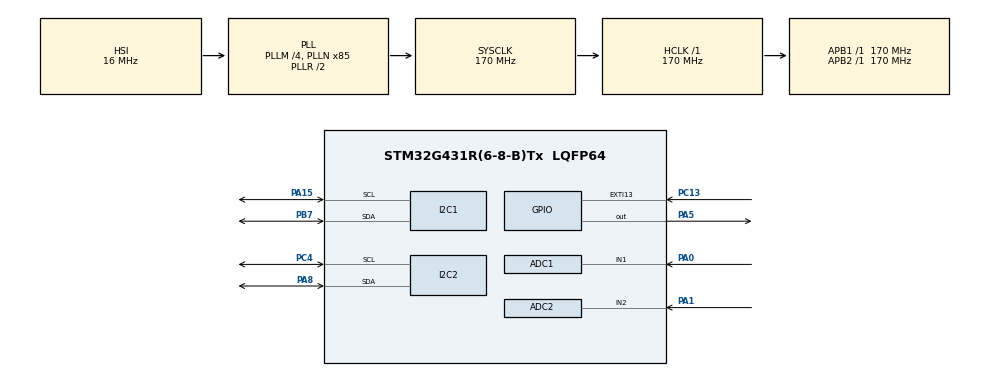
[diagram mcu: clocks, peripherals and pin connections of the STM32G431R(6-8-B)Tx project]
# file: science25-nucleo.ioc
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ADC1.Channel-0\#ChannelRegularConversion=ADC_CHANNEL_1
ADC1.NbrOfConversionFlag=1
ADC1.OffsetNumber-0\#ChannelRegularConversion=ADC_OFFSET_NONE
ADC1.Rank-0\#ChannelRegularConversion=1
ADC1.SamplingTime-0\#ChannelRegularConversion=ADC_SAMPLETIME_2CYCLES_5
ADC1.master=1
ADC2.Channel-0\#ChannelRegularConversion=ADC_CHANNEL_2
ADC2.NbrOfConversionFlag=1
ADC2.OffsetNumber-0\#ChannelRegularConversion=ADC_OFFSET_NONE
ADC2.Rank-0\#ChannelRegularConversion=1
ADC2.SamplingTime-0\#ChannelRegularConversion=ADC_SAMPLETIME_2CYCLES_5
I2C1.Timing=0x40B285C2
I2C2.Timing=0x40B285C2
Mcu.Family=STM32G4
Mcu.Name=STM32G431R(6-8-B)Tx
Mcu.Package=LQFP64
NUCLEO-G431RB.BUTTON=1
NUCLEO-G431RB.LD1=true
NUCLEO-G431RB.VCP=true
NVIC.EXTI15_10_IRQn=true\:0\:0\:false\:false\:true\:false\:true\:true
NVIC.PriorityGroup=NVIC_PRIORITYGROUP_4
PA0.Mode=IN1-Single-Ended
PA0.Signal=ADC1_IN1
PA1.Mode=IN2-Single-Ended
PA1.Signal=ADC2_IN2
PA13.GPIO_Label=T_SWDIO
PA13.Signal=SYS_JTMS-SWDIO
PA14.GPIO_Label=T_SWCLK
PA14.Signal=SYS_JTCK-SWCLK
PA15.GPIO_Pu=GPIO_PULLUP
PA15.Mode=I2C
PA15.Signal=I2C1_SCL
PA2.Signal=LPUART1_TX
PA3.Signal=LPUART1_RX
PA5.Signal=GPIO_Output
PA8.GPIO_Pu=GPIO_PULLUP
PA8.Mode=I2C
PA8.Signal=I2C2_SDA
PB3.GPIO_Label=T_SWO
PB3.Signal=SYS_JTDO-SWO
PB7.GPIO_Pu=GPIO_PULLUP
PB7.Mode=I2C
PB7.Signal=I2C1_SDA
PC13.Signal=GPXTI13
PC14-OSC32_IN.GPIO_Label=RCC_OSC32_OUT
PC14-OSC32_IN.Signal=RCC_OSC32_IN
PC15-OSC32_OUT.GPIO_Label=RCC_OSC32_OUT
PC15-OSC32_OUT.Signal=RCC_OSC32_OUT
PC4.GPIO_Pu=GPIO_PULLUP
PC4.Mode=I2C
PC4.Signal=I2C2_SCL
PF0-OSC_IN.GPIO_Label=RCC_OSC_IN
PF0-OSC_IN.Signal=RCC_OSC_IN
PF1-OSC_OUT.GPIO_Label=RCC_OSC_OUT
PF1-OSC_OUT.Signal=RCC_OSC_OUT
ProjectManager.HeapSize=0x200
ProjectManager.StackSize=0x400
ProjectManager.TargetToolchain=STM32CubeIDE
RCC.ADC12Freq_Value=170000000
RCC.AHBFreq_Value=170000000
RCC.APB1Freq_Value=170000000
RCC.APB1TimFreq_Value=170000000
RCC.APB2Freq_Value=170000000
RCC.APB2TimFreq_Value=170000000
RCC.CortexFreq_Value=170000000
RCC.EXTERNAL_CLOCK_VALUE=12288000
RCC.HCLKFreq_Value=170000000
RCC.HSE_VALUE=24000000
RCC.HSI48_VALUE=48000000
RCC.HSI_VALUE=16000000
RCC.LSE_VALUE=32768
RCC.PLLM=RCC_PLLM_DIV4
RCC.PLLN=85
RCC.RTCClockSelection=RCC_RTCCLKSOURCE_LSE
RCC.SYSCLKFreq_VALUE=170000000
RCC.SYSCLKSource=RCC_SYSCLKSOURCE_PLLCLK
RCC.USBFreq_Value=170000000
RCC.VCOOutputFreq_Value=340000000
VP_NUCLEO-G431RB_VS_BSP_COMMON.Mode=COMMON
VP_SYS_VS_DBSignals.Mode=DisableDeadBatterySignals
board=NUCLEO-G431RB

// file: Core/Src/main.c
/* USER CODE BEGIN Header */
/**
  ******************************************************************************
  * @file           : main.c
  * @brief          : Main program body
  ******************************************************************************
  * @attention
  *
  * Copyright (c) 2024 STMicroelectronics.
  * All rights reserved.
  *
  * This software is licensed under terms that can be found in the LICENSE file
  * in the root directory of this software component.
  * If no LICENSE file comes with this software, it is provided AS-IS.
  *
  ******************************************************************************
  */
/* USER CODE END Header */
#include "main.h"
#include "new_main.h"

/* USER CODE BEGIN PM */

#define OXYGEN_DATA_LENGTH 8

#define ADDRESS_0   0x70
#define ADDRESS_1   0x71
#define ADDRESS_2   0x72
#define ADDRESS_3   0x73  ///< iic slave Address select
#define OCOUNT      100   ///< oxygen Count Value
#define OXYGEN_DATA_REGISTER 0x03   ///< register for oxygen data
#define USER_SET_REGISTER    0x08   ///< register for users to configure key value manually
#define AUTUAL_SET_REGISTER  0x09   ///< register that automatically configure key value
#define GET_KEY_REGISTER     0x0A   ///< register for obtaining key value

#define TEMP_HUM_ADDRESS 0x38

/* USER CODE END PM */

COM_InitTypeDef BspCOMInit;
ADC_HandleTypeDef hadc1;
ADC_HandleTypeDef hadc2;

I2C_HandleTypeDef hi2c1;
I2C_HandleTypeDef hi2c2;

void SystemClock_Config(void);
static void MX_GPIO_Init(void);
static void MX_ADC1_Init(void);
static void MX_ADC2_Init(void);
static void MX_I2C1_Init(void);
static void MX_I2C2_Init(void);
/* USER CODE BEGIN PFP */

#define CAN_MSG_REQUEST_I2C1    0x100
#define CAN_MSG_REQUEST_I2C2    0x101
#define CAN_MSG_REQUEST_I2C3    0x102
#define CAN_MSG_REQUEST_ADC1    0x103
#define CAN_MSG_REQUEST_ADC2    0x104
#define CAN_MSG_RESPONSE_I2C    0x200
#define CAN_MSG_RESPONSE_ADC    0x201

/* USER CODE END PFP */

/* USER CODE BEGIN 0 */

/* Buffer for I2C data */
uint8_t i2c_buffer[8];
/* Buffer for ADC data */
uint16_t adc_buffer[4];

/* FDCAN message structures */
//FDCAN_TxHeaderTypeDef TxHeader;
//FDCAN_RxHeaderTypeDef RxHeader;
uint8_t TxData[8];
uint8_t RxData[8];

//void CAN_Config(void)
//{
//    /* Configure FDCAN filter to receive all messages */
//    FDCAN_FilterTypeDef sFilterConfig;
//
//    sFilterConfig.IdType = FDCAN_STANDARD_ID;
//    sFilterConfig.FilterIndex = 0;
//    sFilterConfig.FilterType = FDCAN_FILTER_MASK;
//    sFilterConfig.FilterConfig = FDCAN_FILTER_TO_RXFIFO0;
//    sFilterConfig.FilterID1 = 0x000;
//    sFilterConfig.FilterID2 = 0x000;
//
//    HAL_FDCAN_ConfigFilter(&hfdcan1, &sFilterConfig);
//    HAL_FDCAN_Start(&hfdcan1);
//    HAL_FDCAN_ActivateNotification(&hfdcan1, FDCAN_IT_RX_FIFO0_NEW_MESSAGE, 0);
//
//    /* Configure TX Header default values */
//    TxHeader.IdType = FDCAN_STANDARD_ID;
//    TxHeader.TxFrameType = FDCAN_DATA_FRAME;
//    TxHeader.DataLength = FDCAN_DLC_BYTES_8;
//    TxHeader.ErrorStateIndicator = FDCAN_ESI_ACTIVE;
//    TxHeader.BitRateSwitch = FDCAN_BRS_OFF;
//    TxHeader.FDFormat = FDCAN_CLASSIC_CAN;
//    TxHeader.TxEventFifoControl = FDCAN_NO_TX_EVENTS;
//    TxHeader.MessageMarker = 0;
//}

//float get_methane_ppm()
//{
//	HAL_StatusTypeDef status;
//	ADC_HandleTypeDef *hadc = &hadc2;
//	uint32_t raw_value;
//	float ppm = -1;
//
//	HAL_ADC_Start(hadc);
//	status = HAL_ADC_PollForConversion(hadc, 100);
//
//	if (status == HAL_OK)
//	{
//		raw_value = HAL_ADC_GetValue(hadc);
//
//		//calculate methane ppm from raw analog in
//		float voltage = raw_value * 5.00 / 4096.00;
//		float rs = (5 - voltage) / voltage;
//		const float r0 = 0.92;
//		ppm = powf(rs / r0, -3.20) * 860.00;
//	}
//
//	HAL_ADC_Stop(hadc);
//	return ppm;
//
//}
//
//float get_uv_index()
//{
//	HAL_StatusTypeDef status;
//	ADC_HandleTypeDef *hadc = &hadc1;
//	uint32_t raw_value;
//	float uv_index = -1;
//
//	HAL_ADC_Start(hadc);
//	status = HAL_ADC_PollForConversion(hadc, 100);
//
//	if (status == HAL_OK)
//	{
//		raw_value = HAL_ADC_GetValue(hadc);
//
//		//calculate methane ppm from raw analog in
//		uv_index = raw_value / 100.0;
//	}
//
//	HAL_ADC_Stop(hadc);
//	return uv_index;
//
//}

void i2c_read(uint8_t dev_addr, uint8_t mem_addr, uint8_t* buf, uint16_t size) {
	I2C_HandleTypeDef *i2c = &hi2c2;
	HAL_StatusTypeDef status;
	status = HAL_I2C_Mem_Read(i2c, dev_addr << 1, mem_addr, 1, buf, size, 100);

	if (status != HAL_OK)
	{
		uint32_t x = HAL_I2C_GetError(&hi2c2);
		HAL_I2C_DeInit(i2c);
		HAL_Delay(5);
		HAL_I2C_Init(i2c);
	}
}

//void HandleADCRequest(ADC_HandleTypeDef *hadc)
//{
//    HAL_StatusTypeDef status;
//    uint32_t raw_value;
//
//    /* Start ADC conversion */
//    HAL_ADC_Start(hadc);
//    status = HAL_ADC_PollForConversion(hadc, 100);
//
//    if (status == HAL_OK)
//    {
//        /* Read ADC value */
//        raw_value = HAL_ADC_GetValue(hadc);
//
//        /* Prepare CAN message */
//        TxHeader.Identifier = CAN_MSG_RESPONSE_ADC;
//        TxData[0] = (raw_value >> 8) & 0xFF;  // High byte
//        TxData[1] = raw_value & 0xFF;         // Low byte
//        TxData[2] = (hadc == &hadc1) ? 1 : 2; // ADC identifier
//
//        HAL_FDCAN_AddMessageToTxFifoQ(&hfdcan1, &TxHeader, TxData);
//    }
//
//    HAL_ADC_Stop(hadc);
//}

//void HandleI2CRequest(I2C_HandleTypeDef *hi2c, uint32_t device_addr)
//{
//    HAL_StatusTypeDef status;
//
//    /* Read 8 bytes from I2C device */
//    status = HAL_I2C_Master_Receive(hi2c, device_addr, i2c_buffer, 8, 100);
//
//    if (status == HAL_OK)
//    {
//        /* Send data via CAN */
//        TxHeader.Identifier = CAN_MSG_RESPONSE_I2C;
//        memcpy(TxData, i2c_buffer, 8);
//        HAL_FDCAN_AddMessageToTxFifoQ(&hfdcan1, &TxHeader, TxData);
//    }
//}

//void HAL_FDCAN_RxFifo0Callback(FDCAN_HandleTypeDef *hfdcan, uint32_t RxFifo0ITs)
//{
//    /* Get received message */
//    if (HAL_FDCAN_GetRxMessage(hfdcan, FDCAN_RX_FIFO0, &RxHeader, RxData) == HAL_OK)
//    {
//        /* Process message based on ID */
//        switch (RxHeader.Identifier)
//        {
//            case CAN_MSG_REQUEST_I2C1:
//                HandleI2CRequest(&hi2c1, RxData[0]); // First byte contains I2C device address
//                break;
//
//            case CAN_MSG_REQUEST_I2C2:
//                HandleI2CRequest(&hi2c2, RxData[0]);
//                break;
//
//            case CAN_MSG_REQUEST_ADC1:
//                HandleADCRequest(&hadc1);
//                break;
//
//            case CAN_MSG_REQUEST_ADC2:
//                HandleADCRequest(&hadc2);
//                break;
//
//            case CAN_MSG_REQUEST_I2C3:
//            	HandleI2CRequest(&hi2c3, RxData[0]);
//
//            default:
//                /* Unknown message ID */
//                break;
//        }
//    }
//}

/* USER CODE END 0 */

int main(void)
{

  /* MCU Configuration--------------------------------------------------------*/

  /* Reset of all peripherals, Initializes the Flash interface and the Systick. */
  HAL_Init();

  /* Configure the system clock */
  SystemClock_Config();

  /* Initialize all configured peripherals */
  MX_GPIO_Init();
  MX_ADC1_Init();
  MX_ADC2_Init();
  MX_I2C1_Init();
  MX_I2C2_Init();
  /* USER CODE BEGIN 2 */
  new_main();
  /* USER CODE END 2 */

  /* Initialize leds */
  BSP_LED_Init(LED_GREEN);

  /* Initialize USER push-button, will be used to trigger an interrupt each time it's pressed.*/
  BSP_PB_Init(BUTTON_USER, BUTTON_MODE_EXTI);

  /* Initialize COM1 port (115200, 8 bits (7-bit data + 1 stop bit), no parity */
  BspCOMInit.BaudRate   = 115200;
  BspCOMInit.WordLength = COM_WORDLENGTH_8B;
  BspCOMInit.StopBits   = COM_STOPBITS_1;
  BspCOMInit.Parity     = COM_PARITY_NONE;
  BspCOMInit.HwFlowCtl  = COM_HWCONTROL_NONE;
  if (BSP_COM_Init(COM1, &BspCOMInit) != BSP_ERROR_NONE)
  {
    Error_Handler();
  }

  /* Infinite loop */
  /* USER CODE BEGIN WHILE */
  while (1)
  {
//	  float ppm = get_methane_ppm();
//	  HAL_Delay(500);
//	  float uv_index = get_uv_index();
//	  HAL_Delay(500);
//	  uint8_t buf[8];
//	  i2c_read(ADDRESS_3, OXYGEN_DATA_REGISTER, buf, OXYGEN_DATA_LENGTH);
//	  HAL_Delay(500); // Read every second
//
//	  HAL_StatusTypeDef status;
//
//	  uint8_t command[3] = {0xAC, 0x33, 0x00};
//	  status = HAL_I2C_Master_Transmit(&hi2c1, (TEMP_HUM_ADDRESS << 1), command, 3, 100);
//	  if (status != HAL_OK){
//		  printf("Tough");
//	  }
//
//	  HAL_Delay(100);
//	  uint8_t buf_two[6];
//	  uint8_t size = 6;
//	  status = HAL_I2C_Master_Receive(&hi2c1, (TEMP_HUM_ADDRESS << 1) | 0x01, buf_two, size, 100);
//	  if (status != HAL_OK){
//		  printf("Tough");
//	  }
//	  HAL_Delay(100);

    /* USER CODE END WHILE */

  }
}

void SystemClock_Config(void)
{
  RCC_OscInitTypeDef RCC_OscInitStruct = {0};
  RCC_ClkInitTypeDef RCC_ClkInitStruct = {0};

  /** Configure the main internal regulator output voltage
  */
  HAL_PWREx_ControlVoltageScaling(PWR_REGULATOR_VOLTAGE_SCALE1_BOOST);

  /** Initializes the RCC Oscillators according to the specified parameters
  * in the RCC_OscInitTypeDef structure.
  */
  RCC_OscInitStruct.OscillatorType = RCC_OSCILLATORTYPE_HSI;
  RCC_OscInitStruct.HSIState = RCC_HSI_ON;
  RCC_OscInitStruct.HSICalibrationValue = RCC_HSICALIBRATION_DEFAULT;
  RCC_OscInitStruct.PLL.PLLState = RCC_PLL_ON;
  RCC_OscInitStruct.PLL.PLLSource = RCC_PLLSOURCE_HSI;
  RCC_OscInitStruct.PLL.PLLM = RCC_PLLM_DIV4;
  RCC_OscInitStruct.PLL.PLLN = 85;
  RCC_OscInitStruct.PLL.PLLP = RCC_PLLP_DIV2;
  RCC_OscInitStruct.PLL.PLLQ = RCC_PLLQ_DIV2;
  RCC_OscInitStruct.PLL.PLLR = RCC_PLLR_DIV2;
  if (HAL_RCC_OscConfig(&RCC_OscInitStruct) != HAL_OK)
  {
    Error_Handler();
  }

  /** Initializes the CPU, AHB and APB buses clocks
  */
  RCC_ClkInitStruct.ClockType = RCC_CLOCKTYPE_HCLK|RCC_CLOCKTYPE_SYSCLK
                              |RCC_CLOCKTYPE_PCLK1|RCC_CLOCKTYPE_PCLK2;
  RCC_ClkInitStruct.SYSCLKSource = RCC_SYSCLKSOURCE_PLLCLK;
  RCC_ClkInitStruct.AHBCLKDivider = RCC_SYSCLK_DIV1;
  RCC_ClkInitStruct.APB1CLKDivider = RCC_HCLK_DIV1;
  RCC_ClkInitStruct.APB2CLKDivider = RCC_HCLK_DIV1;

  if (HAL_RCC_ClockConfig(&RCC_ClkInitStruct, FLASH_LATENCY_4) != HAL_OK)
  {
    Error_Handler();
  }
}

static void MX_ADC1_Init(void)
{

  ADC_MultiModeTypeDef multimode = {0};
  ADC_ChannelConfTypeDef sConfig = {0};

  /** Common config
  */
  hadc1.Instance = ADC1;
  hadc1.Init.ClockPrescaler = ADC_CLOCK_SYNC_PCLK_DIV4;
  hadc1.Init.Resolution = ADC_RESOLUTION_12B;
  hadc1.Init.DataAlign = ADC_DATAALIGN_RIGHT;
  hadc1.Init.GainCompensation = 0;
  hadc1.Init.ScanConvMode = ADC_SCAN_DISABLE;
  hadc1.Init.EOCSelection = ADC_EOC_SINGLE_CONV;
  hadc1.Init.LowPowerAutoWait = DISABLE;
  hadc1.Init.ContinuousConvMode = DISABLE;
  hadc1.Init.NbrOfConversion = 1;
  hadc1.Init.DiscontinuousConvMode = DISABLE;
  hadc1.Init.ExternalTrigConv = ADC_SOFTWARE_START;
  hadc1.Init.ExternalTrigConvEdge = ADC_EXTERNALTRIGCONVEDGE_NONE;
  hadc1.Init.DMAContinuousRequests = DISABLE;
  hadc1.Init.Overrun = ADC_OVR_DATA_PRESERVED;
  hadc1.Init.OversamplingMode = DISABLE;
  if (HAL_ADC_Init(&hadc1) != HAL_OK)
  {
    Error_Handler();
  }

  /** Configure the ADC multi-mode
  */
  multimode.Mode = ADC_MODE_INDEPENDENT;
  if (HAL_ADCEx_MultiModeConfigChannel(&hadc1, &multimode) != HAL_OK)
  {
    Error_Handler();
  }

  /** Configure Regular Channel
  */
  sConfig.Channel = ADC_CHANNEL_1;
  sConfig.Rank = ADC_REGULAR_RANK_1;
  sConfig.SamplingTime = ADC_SAMPLETIME_2CYCLES_5;
  sConfig.SingleDiff = ADC_SINGLE_ENDED;
  sConfig.OffsetNumber = ADC_OFFSET_NONE;
  sConfig.Offset = 0;
  if (HAL_ADC_ConfigChannel(&hadc1, &sConfig) != HAL_OK)
  {
    Error_Handler();
  }

}

static void MX_ADC2_Init(void)
{

  ADC_ChannelConfTypeDef sConfig = {0};

  /** Common config
  */
  hadc2.Instance = ADC2;
  hadc2.Init.ClockPrescaler = ADC_CLOCK_SYNC_PCLK_DIV4;
  hadc2.Init.Resolution = ADC_RESOLUTION_12B;
  hadc2.Init.DataAlign = ADC_DATAALIGN_RIGHT;
  hadc2.Init.GainCompensation = 0;
  hadc2.Init.ScanConvMode = ADC_SCAN_DISABLE;
  hadc2.Init.EOCSelection = ADC_EOC_SINGLE_CONV;
  hadc2.Init.LowPowerAutoWait = DISABLE;
  hadc2.Init.ContinuousConvMode = DISABLE;
  hadc2.Init.NbrOfConversion = 1;
  hadc2.Init.DiscontinuousConvMode = DISABLE;
  hadc2.Init.ExternalTrigConv = ADC_SOFTWARE_START;
  hadc2.Init.ExternalTrigConvEdge = ADC_EXTERNALTRIGCONVEDGE_NONE;
  hadc2.Init.DMAContinuousRequests = DISABLE;
  hadc2.Init.Overrun = ADC_OVR_DATA_PRESERVED;
  hadc2.Init.OversamplingMode = DISABLE;
  if (HAL_ADC_Init(&hadc2) != HAL_OK)
  {
    Error_Handler();
  }

  /** Configure Regular Channel
  */
  sConfig.Channel = ADC_CHANNEL_2;
  sConfig.Rank = ADC_REGULAR_RANK_1;
  sConfig.SamplingTime = ADC_SAMPLETIME_2CYCLES_5;
  sConfig.SingleDiff = ADC_SINGLE_ENDED;
  sConfig.OffsetNumber = ADC_OFFSET_NONE;
  sConfig.Offset = 0;
  if (HAL_ADC_ConfigChannel(&hadc2, &sConfig) != HAL_OK)
  {
    Error_Handler();
  }

}

static void MX_I2C1_Init(void)
{

  hi2c1.Instance = I2C1;
  hi2c1.Init.Timing = 0x40B285C2;
  hi2c1.Init.OwnAddress1 = 0;
  hi2c1.Init.AddressingMode = I2C_ADDRESSINGMODE_7BIT;
  hi2c1.Init.DualAddressMode = I2C_DUALADDRESS_DISABLE;
  hi2c1.Init.OwnAddress2 = 0;
  hi2c1.Init.OwnAddress2Masks = I2C_OA2_NOMASK;
  hi2c1.Init.GeneralCallMode = I2C_GENERALCALL_DISABLE;
  hi2c1.Init.NoStretchMode = I2C_NOSTRETCH_DISABLE;
  if (HAL_I2C_Init(&hi2c1) != HAL_OK)
  {
    Error_Handler();
  }

  /** Configure Analogue filter
  */
  if (HAL_I2CEx_ConfigAnalogFilter(&hi2c1, I2C_ANALOGFILTER_ENABLE) != HAL_OK)
  {
    Error_Handler();
  }

  /** Configure Digital filter
  */
  if (HAL_I2CEx_ConfigDigitalFilter(&hi2c1, 0) != HAL_OK)
  {
    Error_Handler();
  }

}

static void MX_I2C2_Init(void)
{

  hi2c2.Instance = I2C2;
  hi2c2.Init.Timing = 0x40B285C2;
  hi2c2.Init.OwnAddress1 = 0;
  hi2c2.Init.AddressingMode = I2C_ADDRESSINGMODE_7BIT;
  hi2c2.Init.DualAddressMode = I2C_DUALADDRESS_DISABLE;
  hi2c2.Init.OwnAddress2 = 0;
  hi2c2.Init.OwnAddress2Masks = I2C_OA2_NOMASK;
  hi2c2.Init.GeneralCallMode = I2C_GENERALCALL_DISABLE;
  hi2c2.Init.NoStretchMode = I2C_NOSTRETCH_DISABLE;
  if (HAL_I2C_Init(&hi2c2) != HAL_OK)
  {
    Error_Handler();
  }

  /** Configure Analogue filter
  */
  if (HAL_I2CEx_ConfigAnalogFilter(&hi2c2, I2C_ANALOGFILTER_ENABLE) != HAL_OK)
  {
    Error_Handler();
  }

  /** Configure Digital filter
  */
  if (HAL_I2CEx_ConfigDigitalFilter(&hi2c2, 0) != HAL_OK)
  {
    Error_Handler();
  }

}

static void MX_GPIO_Init(void)
{

  /* GPIO Ports Clock Enable */
  __HAL_RCC_GPIOC_CLK_ENABLE();
  __HAL_RCC_GPIOF_CLK_ENABLE();
  __HAL_RCC_GPIOA_CLK_ENABLE();
  __HAL_RCC_GPIOB_CLK_ENABLE();

}

void Error_Handler(void)
{
  __disable_irq();
  while (1)
  {
  }
}
